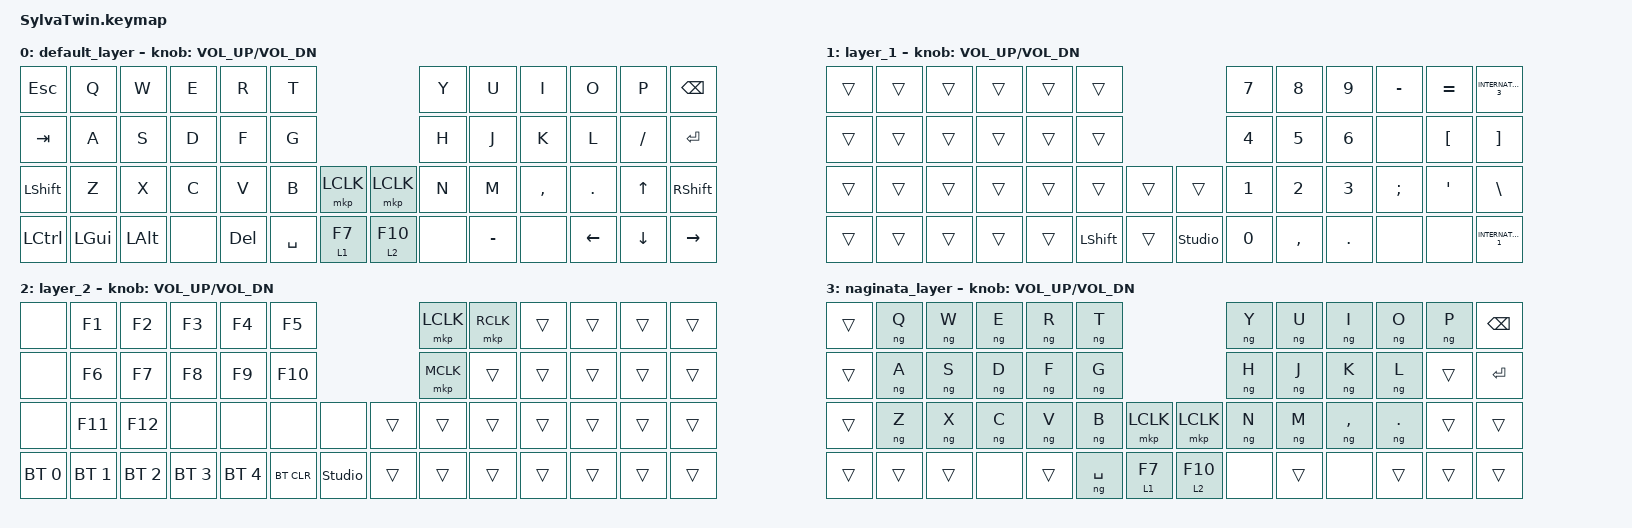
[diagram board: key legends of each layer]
/*
 * Copyright (c) 2020 The ZMK Contributors
 *
 * SPDX-License-Identifier: MIT
 */

#include <behaviors.dtsi>
#include <dt-bindings/zmk/bt.h>
#include <dt-bindings/zmk/keys.h>
#include <dt-bindings/zmk/pointing.h>

/* ★1. 薙刀式ヘッダーを追加 */
#include <behaviors/naginata.dtsi>

/ {
    /* ★2-1. 薙刀式ON/OFF切り替え用マクロを追加 */
    macros {
        ng_on: ng_on {
            compatible = "zmk,behavior-macro";
            #binding-cells = <0>;
            // かなキー(INT4)を発行してレイヤー3(naginata)に移動
            bindings = <&macro_tap &kp LANGUAGE_1 &kp INTERNATIONAL_4 &to 3>;
        };
        ng_off: ng_off {
            compatible = "zmk,behavior-macro";
            #binding-cells = <0>;
            // 英数キー(INT5)を発行してデフォルトレイヤー(0)に戻る
            bindings = <&macro_tap &kp LANGUAGE_2 &kp INTERNATIONAL_5 &to 0>;
        };
    };

    combos {
        compatible = "zmk,combos";

        prtsc {
            bindings = <&kp PRINTSCREEN>;
            key-positions = <10 11>;
        };

        RightClick {
            bindings = <&mkp RCLK>;
            key-positions = <30 44>;
        };

        MiddleClick {
            bindings = <&mkp MCLK>;
            key-positions = <29 43>;
        };

        RightClick2 {
            bindings = <&mkp RCLK>;
            key-positions = <31 45>;
        };

        MiddleClick2 {
            bindings = <&mkp MCLK>;
            key-positions = <32 46>;
        };

        zen-han {
            bindings = <&kp GRAVE>;
            key-positions = <0 1>;
        };

        paste {
            bindings = <&kp LC(V)>;
            key-positions = <42 28>;
        };

        copy {
            bindings = <&kp LC(C)>;
            key-positions = <41 27>;
        };

        cut {
            bindings = <&kp LC(X)>;
            key-positions = <40 26>;
        };

        prev_click {
            bindings = <&mkp MB4>;
            key-positions = <29 30>;
        };

        /* ★2-2. 薙刀式ON/OFFのコンボを追加 */
        combo_ng_on {
            timeout-ms = <300>;
            key-positions = <19 20>; // SylvaTwinの J (19) + K (20) でON
            bindings = <&ng_on>;
            layers = <0>;
        };

        combo_ng_off {
            timeout-ms = <300>;
            key-positions = <16 17>; // SylvaTwinの F (16) + G (17) でOFF
            bindings = <&ng_off>;
            layers = <0 3>; // デフォルト(0)または薙刀式レイヤー(3)から戻る
        };
    };

    keymap {
        compatible = "zmk,keymap";

        default_layer {
            bindings = <
&kp ESC     &kp Q     &kp W     &kp E  &kp R    &kp T                                &kp Y  &kp U      &kp I      &kp O     &kp P      &kp BSPC
&kp TAB     &kp A     &kp S     &kp D  &kp F    &kp G                                &kp H  &kp J      &kp K      &kp L     &kp SLASH  &kp ENTER
&kp LSHIFT  &kp Z     &kp X     &kp C  &kp V    &kp B      &mkp LCLK  &mkp LCLK      &kp N  &kp M      &kp COMMA  &kp DOT   &kp UP     &kp RSHIFT
&kp LCTRL   &kp LGUI  &kp LALT  &none  &kp DEL  &kp SPACE  &lt 1 F7   &lt 2 F10  &none  &kp MINUS  &none      &kp LEFT  &kp DOWN   &kp RIGHT
            >;

            sensor-bindings = <&inc_dec_kp C_VOL_UP C_VOL_DN>;
        };

        layer_1 {
            bindings = <
&trans  &trans  &trans  &trans  &trans  &trans                                  &kp NUMBER_7  &kp NUMBER_8  &kp NUMBER_9  &kp MINUS      &kp EQUAL         &kp INTERNATIONAL_3
&trans  &trans  &trans  &trans  &trans  &trans                                  &kp NUMBER_4  &kp NUMBER_5  &kp NUMBER_6  &none          &kp LEFT_BRACKET  &kp RIGHT_BRACKET
&trans  &trans  &trans  &trans  &trans  &trans          &trans  &trans          &kp NUMBER_1  &kp NUMBER_2  &kp NUMBER_3  &kp SEMICOLON  &kp SINGLE_QUOTE  &kp BSLH
&trans  &trans  &trans  &trans  &trans  &kp LEFT_SHIFT  &trans  &studio_unlock  &kp NUMBER_0  &kp COMMA     &kp DOT       &none          &none             &kp INTERNATIONAL_1
            >;

            sensor-bindings = <&inc_dec_kp C_VOL_UP C_VOL_DN>;
        };

        layer_2 {
            bindings = <
&none         &kp F1        &kp F2        &kp F3        &kp F4        &kp F5                              &mkp LCLK  &mkp RCLK  &trans  &trans  &trans  &trans
&none         &kp F6        &kp F7        &kp F8        &kp F9        &kp F10                             &mkp MCLK  &trans     &trans  &trans  &trans  &trans
&none         &kp F11       &kp F12       &none         &none         &none         &none       &trans    &trans     &trans     &trans  &trans  &trans  &trans
&bt BT_SEL 0  &bt BT_SEL 1  &bt BT_SEL 2  &bt BT_SEL 3  &bt BT_SEL 4  &bt BT_CLR    &studio_unlock  &trans  &trans     &trans     &trans  &trans  &trans  &trans
            >;

            sensor-bindings = <&inc_dec_kp C_VOL_UP C_VOL_DN>;
        };

        /* ★3. 薙刀式レイヤー（レイヤー3）を追加 */
        naginata_layer {
            bindings = <
&trans  &ng Q  &ng W  &ng E  &ng R  &ng T                                &ng Y  &ng U  &ng I      &ng O    &ng P   &kp BSPC
&trans  &ng A  &ng S  &ng D  &ng F  &ng G                                &ng H  &ng J  &ng K      &ng L    &trans  &kp ENTER
&trans  &ng Z  &ng X  &ng C  &ng V  &ng B      &mkp LCLK  &mkp LCLK      &ng N  &ng M  &ng COMMA  &ng DOT  &trans  &trans
&trans  &trans &trans &none  &trans &ng SPACE  &lt 1 F7   &lt 2 F10  &none  &trans &none      &trans   &trans  &trans
            >;

            sensor-bindings = <&inc_dec_kp C_VOL_UP C_VOL_DN>;
        };
    };
};
